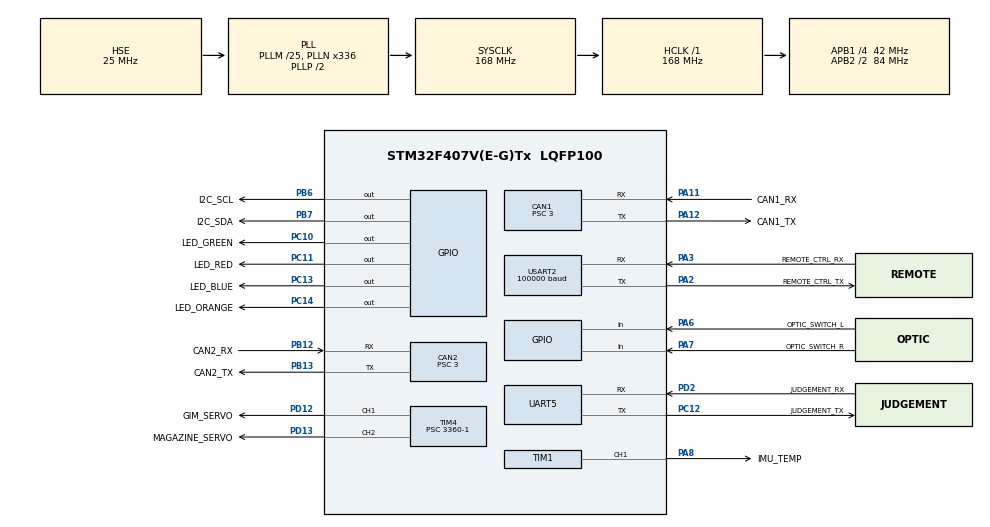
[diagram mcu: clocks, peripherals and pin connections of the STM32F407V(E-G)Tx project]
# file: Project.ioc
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CAN1.ABOM=ENABLE
CAN1.BS1=CAN_BS1_9TQ
CAN1.BS2=CAN_BS2_4TQ
CAN1.CalculateTimeBit=1000
CAN1.CalculateTimeQuantum=71.42857142857143
CAN1.Prescaler=3
CAN2.ABOM=ENABLE
CAN2.BS1=CAN_BS1_9TQ
CAN2.BS2=CAN_BS2_4TQ
CAN2.CalculateTimeBit=1000
CAN2.CalculateTimeQuantum=71.42857142857143
CAN2.Prescaler=3
Dma.Request0=USART2_RX
Dma.Request1=UART5_RX
Dma.UART5_RX.1.Direction=DMA_PERIPH_TO_MEMORY
Dma.UART5_RX.1.FIFOMode=DMA_FIFOMODE_DISABLE
Dma.UART5_RX.1.Instance=DMA1_Stream0
Dma.UART5_RX.1.MemDataAlignment=DMA_MDATAALIGN_BYTE
Dma.UART5_RX.1.MemInc=DMA_MINC_ENABLE
Dma.UART5_RX.1.Mode=DMA_NORMAL
Dma.UART5_RX.1.PeriphDataAlignment=DMA_PDATAALIGN_BYTE
Dma.UART5_RX.1.PeriphInc=DMA_PINC_DISABLE
Dma.UART5_RX.1.Priority=DMA_PRIORITY_VERY_HIGH
Dma.USART2_RX.0.Direction=DMA_PERIPH_TO_MEMORY
Dma.USART2_RX.0.FIFOMode=DMA_FIFOMODE_DISABLE
Dma.USART2_RX.0.Instance=DMA1_Stream5
Dma.USART2_RX.0.MemDataAlignment=DMA_MDATAALIGN_BYTE
Dma.USART2_RX.0.MemInc=DMA_MINC_ENABLE
Dma.USART2_RX.0.Mode=DMA_CIRCULAR
Dma.USART2_RX.0.PeriphDataAlignment=DMA_PDATAALIGN_BYTE
Dma.USART2_RX.0.PeriphInc=DMA_PINC_DISABLE
Dma.USART2_RX.0.Priority=DMA_PRIORITY_LOW
Mcu.Family=STM32F4
Mcu.Name=STM32F407V(E-G)Tx
Mcu.Package=LQFP100
NVIC.CAN1_RX0_IRQn=true\:5\:0\:true\:false\:true
NVIC.CAN1_TX_IRQn=true\:5\:0\:true\:false\:true
NVIC.CAN2_RX0_IRQn=true\:6\:0\:true\:false\:true
NVIC.CAN2_TX_IRQn=true\:6\:0\:true\:false\:true
NVIC.DMA1_Stream0_IRQn=true\:0\:0\:true\:false\:true
NVIC.DMA1_Stream5_IRQn=true\:0\:0\:false\:false\:true
NVIC.PriorityGroup=NVIC_PRIORITYGROUP_4
NVIC.UART5_IRQn=true\:5\:0\:true\:false\:true
NVIC.USART2_IRQn=true\:5\:0\:true\:false\:true
PA11.GPIO_Label=CAN1_RX
PA11.Mode=Master
PA11.Signal=CAN1_RX
PA12.GPIO_Label=CAN1_TX
PA12.Mode=Master
PA12.Signal=CAN1_TX
PA2.GPIO_Label=REMOTE_CTRL_TX
PA2.Mode=Asynchronous
PA2.Signal=USART2_TX
PA3.GPIO_Label=REMOTE_CTRL_RX
PA3.Mode=Asynchronous
PA3.Signal=USART2_RX
PA6.GPIO_Label=OPTIC_SWITCH_L
PA6.GPIO_PuPd=GPIO_PULLUP
PA6.Signal=GPIO_Input
PA7.GPIO_Label=OPTIC_SWITCH_R
PA7.GPIO_PuPd=GPIO_PULLUP
PA7.Signal=GPIO_Input
PA8.GPIO_Label=IMU_TEMP
PA8.Signal=S_TIM1_CH1
PB12.GPIO_Label=CAN2_RX
PB12.Mode=Slave
PB12.Signal=CAN2_RX
PB13.GPIO_Label=CAN2_TX
PB13.Mode=Slave
PB13.Signal=CAN2_TX
PB6.GPIO_Label=I2C_SCL
PB6.GPIO_ModeDefaultOutputPP=GPIO_MODE_OUTPUT_PP
PB6.GPIO_PuPd=GPIO_PULLUP
PB6.GPIO_Speed=GPIO_SPEED_FREQ_HIGH
PB6.PinState=GPIO_PIN_RESET
PB6.Signal=GPIO_Output
PB7.GPIO_Label=I2C_SDA
PB7.GPIO_PuPd=GPIO_PULLUP
PB7.GPIO_Speed=GPIO_SPEED_FREQ_HIGH
PB7.Signal=GPIO_Output
PC10.GPIO_Label=LED_GREEN
PC10.GPIO_ModeDefaultOutputPP=GPIO_MODE_OUTPUT_PP
PC10.GPIO_PuPd=GPIO_NOPULL
PC10.GPIO_Speed=GPIO_SPEED_FREQ_LOW
PC10.PinState=GPIO_PIN_SET
PC10.Signal=GPIO_Output
PC11.GPIO_Label=LED_RED
PC11.GPIO_ModeDefaultOutputPP=GPIO_MODE_OUTPUT_PP
PC11.GPIO_PuPd=GPIO_NOPULL
PC11.GPIO_Speed=GPIO_SPEED_FREQ_LOW
PC11.PinState=GPIO_PIN_SET
PC11.Signal=GPIO_Output
PC12.GPIO_Label=JUDGEMENT_TX
PC12.Mode=Asynchronous
PC12.Signal=UART5_TX
PC13-ANTI_TAMP.GPIO_Label=LED_BLUE
PC13-ANTI_TAMP.GPIO_ModeDefaultOutputPP=GPIO_MODE_OUTPUT_PP
PC13-ANTI_TAMP.GPIO_PuPd=GPIO_NOPULL
PC13-ANTI_TAMP.GPIO_Speed=GPIO_SPEED_FREQ_LOW
PC13-ANTI_TAMP.PinState=GPIO_PIN_SET
PC13-ANTI_TAMP.Signal=GPIO_Output
PC14-OSC32_IN.GPIO_Label=LED_ORANGE
PC14-OSC32_IN.GPIO_ModeDefaultOutputPP=GPIO_MODE_OUTPUT_PP
PC14-OSC32_IN.GPIO_PuPd=GPIO_NOPULL
PC14-OSC32_IN.GPIO_Speed=GPIO_SPEED_FREQ_LOW
PC14-OSC32_IN.PinState=GPIO_PIN_SET
PC14-OSC32_IN.Signal=GPIO_Output
PD12.GPIO_Label=GIM_SERVO
PD12.GPIO_Speed=GPIO_SPEED_FREQ_HIGH
PD12.Signal=S_TIM4_CH1
PD13.GPIO_Label=MAGAZINE_SERVO
PD13.GPIO_Speed=GPIO_SPEED_FREQ_HIGH
PD13.Signal=S_TIM4_CH2
PD2.GPIO_Label=JUDGEMENT_RX
PD2.Mode=Asynchronous
PD2.Signal=UART5_RX
PH0-OSC_IN.Mode=HSE-External-Oscillator
PH0-OSC_IN.Signal=RCC_OSC_IN
PH1-OSC_OUT.Mode=HSE-External-Oscillator
PH1-OSC_OUT.Signal=RCC_OSC_OUT
ProjectManager.HeapSize=0x200
ProjectManager.StackSize=0x400
ProjectManager.TargetToolchain=MDK-ARM V5
RCC.48MHZClocksFreq_Value=84000000
RCC.AHBFreq_Value=168000000
RCC.APB1CLKDivider=RCC_HCLK_DIV4
RCC.APB1Freq_Value=42000000
RCC.APB1TimFreq_Value=84000000
RCC.APB2CLKDivider=RCC_HCLK_DIV2
RCC.APB2Freq_Value=84000000
RCC.APB2TimFreq_Value=168000000
RCC.CortexFreq_Value=168000000
RCC.HCLKFreq_Value=168000000
RCC.HSE_VALUE=25000000
RCC.HSI_VALUE=16000000
RCC.LSE_VALUE=32768
RCC.PLLM=25
RCC.PLLN=336
RCC.PLLSourceVirtual=RCC_PLLSOURCE_HSE
RCC.SYSCLKFreq_VALUE=168000000
RCC.SYSCLKSource=RCC_SYSCLKSOURCE_PLLCLK
RCC.VCOOutputFreq_Value=336000000
SH.S_TIM1_CH1.0=TIM1_CH1,PWM Generation1 CH1
SH.S_TIM4_CH1.0=TIM4_CH1,PWM Generation1 CH1
SH.S_TIM4_CH2.0=TIM4_CH2,PWM Generation2 CH2
TIM1.BreakPolarity=TIM_BREAKPOLARITY_HIGH
TIM1.Channel-PWM\ Generation1\ CH1=TIM_CHANNEL_1
TIM1.OCIdleState_1=TIM_OCIDLESTATE_RESET
TIM1.OCMode_PWM-PWM\ Generation1\ CH1=TIM_OCMODE_PWM2
TIM1.OCPolarity_1=TIM_OCPOLARITY_LOW
TIM1.Period=1000
TIM1.Prescaler=84-1
TIM1.Pulse-PWM\ Generation1\ CH1=0
TIM4.Channel-PWM\ Generation1\ CH1=TIM_CHANNEL_1
TIM4.Channel-PWM\ Generation2\ CH2=TIM_CHANNEL_2
TIM4.OCMode_PWM-PWM\ Generation1\ CH1=TIM_OCMODE_PWM2
TIM4.OCMode_PWM-PWM\ Generation2\ CH2=TIM_OCMODE_PWM2
TIM4.OCPolarity_1=TIM_OCPOLARITY_LOW
TIM4.OCPolarity_2=TIM_OCPOLARITY_LOW
TIM4.Period=1000-1
TIM4.Prescaler=3360-1
UART5.VirtualMode=Asynchronous
USART2.BaudRate=100000
USART2.VirtualMode=VM_ASYNC
board=Project

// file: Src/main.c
/**
  ******************************************************************************
  * File Name          : main.c
  * Description        : Main program body
  ******************************************************************************
  ** This notice applies to any and all portions of this file
  * that are not between comment pairs USER CODE BEGIN and
  * USER CODE END. Other portions of this file, whether
  * inserted by the user or by software development tools
  * are owned by their respective copyright owners.
  *
  * COPYRIGHT(c) 2019 STMicroelectronics
  *
  * Redistribution and use in source and binary forms, with or without modification,
  * are permitted provided that the following conditions are met:
  *   1. Redistributions of source code must retain the above copyright notice,
  *      this list of conditions and the following disclaimer.
  *   2. Redistributions in binary form must reproduce the above copyright notice,
  *      this list of conditions and the following disclaimer in the documentation
  *      and/or other materials provided with the distribution.
  *   3. Neither the name of STMicroelectronics nor the names of its contributors
  *      may be used to endorse or promote products derived from this software
  *      without specific prior written permission.
  *
  * THIS SOFTWARE IS PROVIDED BY THE COPYRIGHT HOLDERS AND CONTRIBUTORS "AS IS"
  * AND ANY EXPRESS OR IMPLIED WARRANTIES, INCLUDING, BUT NOT LIMITED TO, THE
  * IMPLIED WARRANTIES OF MERCHANTABILITY AND FITNESS FOR A PARTICULAR PURPOSE ARE
  * DISCLAIMED. IN NO EVENT SHALL THE COPYRIGHT HOLDER OR CONTRIBUTORS BE LIABLE
  * FOR ANY DIRECT, INDIRECT, INCIDENTAL, SPECIAL, EXEMPLARY, OR CONSEQUENTIAL
  * DAMAGES (INCLUDING, BUT NOT LIMITED TO, PROCUREMENT OF SUBSTITUTE GOODS OR
  * SERVICES; LOSS OF USE, DATA, OR PROFITS; OR BUSINESS INTERRUPTION) HOWEVER
  * CAUSED AND ON ANY THEORY OF LIABILITY, WHETHER IN CONTRACT, STRICT LIABILITY,
  * OR TORT (INCLUDING NEGLIGENCE OR OTHERWISE) ARISING IN ANY WAY OUT OF THE USE
  * OF THIS SOFTWARE, EVEN IF ADVISED OF THE POSSIBILITY OF SUCH DAMAGE.
  *
  ******************************************************************************
  */
#include "main.h"
#include "stm32f4xx_hal.h"
#include "can.h"
#include "dma.h"
#include "tim.h"
#include "usart.h"
#include "gpio.h"

/* USER CODE BEGIN Includes */
#include "bsp_sys.h"
/* USER CODE END Includes */

/* USER CODE BEGIN PV */
/* Private variables ---------------------------------------------------------*/

/* USER CODE END PV */

void SystemClock_Config(void);

/* USER CODE BEGIN PFP */
/* Private function prototypes -----------------------------------------------*/

/* USER CODE END PFP */

int main(void)
{

  /* MCU Configuration----------------------------------------------------------*/

  /* Reset of all peripherals, Initializes the Flash interface and the Systick. */
  HAL_Init();

  /* Configure the system clock */
  SystemClock_Config();

  /* USER CODE BEGIN SysInit */
	delay_ms(3000);
  /* USER CODE END SysInit */

  /* Initialize all configured peripherals */
  MX_GPIO_Init();
  MX_DMA_Init();
  MX_CAN1_Init();
  MX_CAN2_Init();
  MX_USART2_UART_Init();
  MX_UART5_Init();
  MX_TIM1_Init();
  MX_TIM4_Init();

  /* USER CODE BEGIN 2 */
	//software parameter initialize
	imu_param_init();
	chassis_param_init();
	rc.rc_enable = 1;	//遥控器开起来

  //hardware device initialize
	optoelectronic_switch_init();
	pwm_device_init();
  can_device_init();

	//open can receive it
  can_receive_start();
	//open dbus uart receive it
  dbus_uart_init();

	//mpu6050 initialize
	MPU_Init();
	while(mpu_dmp_init())
	{
		static uint8_t fail_time = 0;
		fail_time++;
		delay_ms(100);
		if(fail_time>3)
		{
			mpu_set_dmp_state(1);
			break;
		}
	}
	mpu_offset_cal(); //
	delay_ms(1000);//

  /* USER CODE END 2 */

  /* Infinite loop */
  while (1)
  {

  /* USER CODE BEGIN 3 */
		loop();
  }
  /* USER CODE END 3 */

}

/** System Clock Configuration
*/
void SystemClock_Config(void)
{

  RCC_OscInitTypeDef RCC_OscInitStruct;
  RCC_ClkInitTypeDef RCC_ClkInitStruct;

    /**Configure the main internal regulator output voltage
    */
  __HAL_RCC_PWR_CLK_ENABLE();

  __HAL_PWR_VOLTAGESCALING_CONFIG(PWR_REGULATOR_VOLTAGE_SCALE1);

    /**Initializes the CPU, AHB and APB busses clocks
    */
  RCC_OscInitStruct.OscillatorType = RCC_OSCILLATORTYPE_HSE;
  RCC_OscInitStruct.HSEState = RCC_HSE_ON;
  RCC_OscInitStruct.PLL.PLLState = RCC_PLL_ON;
  RCC_OscInitStruct.PLL.PLLSource = RCC_PLLSOURCE_HSE;
  RCC_OscInitStruct.PLL.PLLM = 25;
  RCC_OscInitStruct.PLL.PLLN = 336;
  RCC_OscInitStruct.PLL.PLLP = RCC_PLLP_DIV2;
  RCC_OscInitStruct.PLL.PLLQ = 4;
  if (HAL_RCC_OscConfig(&RCC_OscInitStruct) != HAL_OK)
  {
    _Error_Handler(__FILE__, __LINE__);
  }

    /**Initializes the CPU, AHB and APB busses clocks
    */
  RCC_ClkInitStruct.ClockType = RCC_CLOCKTYPE_HCLK|RCC_CLOCKTYPE_SYSCLK
                              |RCC_CLOCKTYPE_PCLK1|RCC_CLOCKTYPE_PCLK2;
  RCC_ClkInitStruct.SYSCLKSource = RCC_SYSCLKSOURCE_PLLCLK;
  RCC_ClkInitStruct.AHBCLKDivider = RCC_SYSCLK_DIV1;
  RCC_ClkInitStruct.APB1CLKDivider = RCC_HCLK_DIV4;
  RCC_ClkInitStruct.APB2CLKDivider = RCC_HCLK_DIV2;

  if (HAL_RCC_ClockConfig(&RCC_ClkInitStruct, FLASH_LATENCY_5) != HAL_OK)
  {
    _Error_Handler(__FILE__, __LINE__);
  }

    /**Configure the Systick interrupt time
    */
  HAL_SYSTICK_Config(HAL_RCC_GetHCLKFreq()/1000);

    /**Configure the Systick
    */
  HAL_SYSTICK_CLKSourceConfig(SYSTICK_CLKSOURCE_HCLK);

  /* SysTick_IRQn interrupt configuration */
  HAL_NVIC_SetPriority(SysTick_IRQn, 0, 0);
}

void _Error_Handler(char * file, int line)
{
  while(1)
  {
  }
}

/************************ (C) COPYRIGHT STMicroelectronics *****END OF FILE****/
